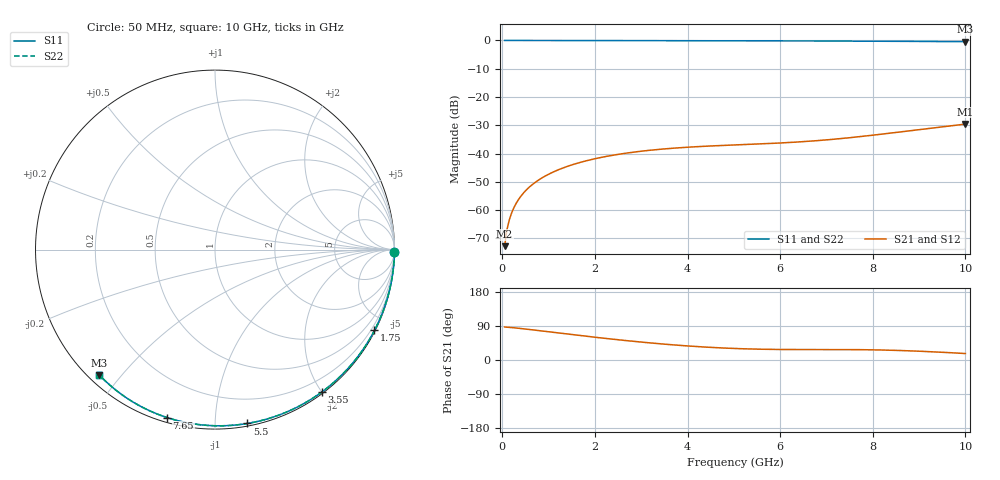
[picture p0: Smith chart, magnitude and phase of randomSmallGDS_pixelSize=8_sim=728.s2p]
! freq	dB(S11)	phase(S11)	dB(S12)	phase(S12)
!  dB(S21)	phase(S21)	dB(S22)	phase(S22)
!S-par simulation data
#  GHz  S  DB  R 50
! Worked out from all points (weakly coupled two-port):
!   200 points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, 50 MHz to 10 GHz, reference 50 ohm
!   highest |S21| = -29.56 dB at 10 GHz (marker M1); lowest = -72.7 dB at 50 MHz (marker M2)
!   lowest |S11| = -0.4 dB at 10 GHz (marker M3), VSWR 39.56, Z = 1.51 - j21.9 ohm
!   |S11| at or under -10 dB: nowhere
!   |S22| runs from -0.4 to 0.0 dB; largest |S21 - S12| = 0
!   S11 on the Smith chart (normalised r, x): 50 MHz: open; 1.75 GHz: 0.04, -4.19; 3.55 GHz: 0.02, -2.00; 5.5 GHz: 0.02, -1.20; 7.65 GHz: 0.02, -0.75; 10 GHz: 0.03, -0.44
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0.05  -0.00 -0.8  -72.72 87.1  -72.72 87.1  -0.00 -0.8
0.1  -0.00 -1.6  -66.92 86.5  -66.92 86.5  -0.00 -1.6
0.15  -0.00 -2.3  -63.49 86.1  -63.49 86.1  -0.00 -2.3
0.2  -0.00 -3.1  -61.03 85.6  -61.03 85.6  -0.00 -3.1
0.25  -0.00 -3.9  -59.12 85.1  -59.12 85.1  -0.00 -3.9
0.35  -0.00 -5.5  -56.23 83.8  -56.23 83.8  -0.00 -5.5
0.5  -0.01 -7.8  -53.16 81.7  -53.16 81.7  -0.01 -7.8
0.7  -0.01 -10.9  -50.29 78.8  -50.29 78.8  -0.01 -10.9
1  -0.02 -15.5  -47.29 74.4  -47.29 74.4  -0.02 -15.5
1.35  -0.03 -20.8  -44.83 69.3  -44.83 69.3  -0.03 -20.8
1.75  -0.03 -26.9  -42.80 63.5  -42.80 63.5  -0.03 -26.9
2.5  -0.05 -38.0  -40.27 53.4  -40.27 53.4  -0.05 -38.0
3.4  -0.07 -51.0  -38.48 42.8  -38.48 42.8  -0.07 -51.0
3.55  -0.07 -53.1  -38.27 41.3  -38.27 41.3  -0.07 -53.2
4.3  -0.09 -63.6  -37.46 34.7  -37.46 34.7  -0.09 -63.6
5.05  -0.11 -73.6  -36.91 30.2  -36.91 30.2  -0.11 -73.6
5.5  -0.13 -79.5  -36.62 28.7  -36.62 28.7  -0.13 -79.5
6.7  -0.18 -94.6  -35.54 27.6  -35.54 27.6  -0.18 -94.6
7.65  -0.24 -105.9  -34.12 27.4  -34.12 27.4  -0.24 -106.0
8.35  -0.29 -114.1  -32.82 25.9  -32.82 25.9  -0.29 -114.1
9.15  -0.35 -123.2  -31.23 22.4  -31.23 22.4  -0.35 -123.2
10  -0.44 -132.7  -29.56 17.1  -29.56 17.1  -0.44 -132.7
